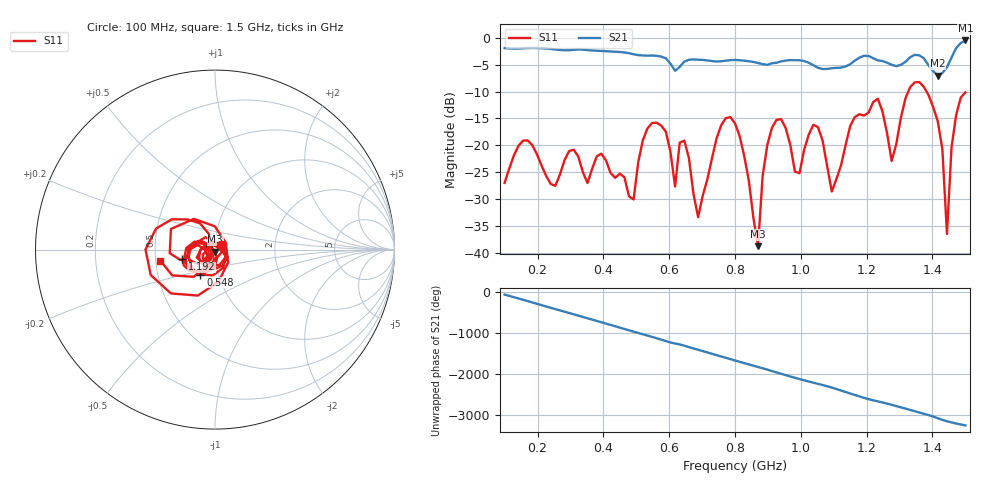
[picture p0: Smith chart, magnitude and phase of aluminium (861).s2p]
! NanoVNA-App
! Date: 2025-09-25 15:01:59
! Start: 100MHz Stop: 1,5GHz Points: 101
! S-Parameter data: F S11 S21 S12 S22
# Hz S RI R 50
!  Frequency  S11_Real  S11_Imag  S21_Real  S21_Imag  S12_Real  S12_Imag  S22_Real  S22_Imag
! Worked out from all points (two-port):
!   101 points, 100 MHz to 1.5 GHz, reference 50 ohm
!   highest |S21| = -0.51 dB at 1.5 GHz (marker M1); lowest = -7.0 dB at 1.416 GHz (marker M2)
!   |S21| within 3 dB of the highest: start of sweep to 576.1 MHz; 1.459 GHz to end of sweep (the widest 2 of 4)
!   lowest |S11| = -38.7 dB at 870 MHz (marker M3), VSWR 1.02, Z = 50.1 - j1.16 ohm
!   |S11| at or under -10 dB: start of sweep to 1.327 GHz; 1.382 GHz to end of sweep
!   S12 and S22 are empty: the file has one direction only
!   S11 on the Smith chart (normalised r, x): 100 MHz: 1.07, +0.06; 548 MHz: 0.82, -0.23; 1.192 GHz: 0.69, -0.08; 1.5 GHz: 0.53, -0.07
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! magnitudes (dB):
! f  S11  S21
! 100 MHz  -27.0  -1.9
! 156 MHz  -19.1  -2.0
! 338 MHz  -25.0  -2.2
! 492 MHz  -30.0  -3.1
! 548 MHz  -15.8  -3.3
! 576 MHz  -16.3  -3.5
! 618 MHz  -27.6  -6.1
! 646 MHz  -19.1  -4.4
! 688 MHz  -33.3  -4.1
! 800 MHz  -15.9  -4.1
! 870 MHz  -38.7  -4.7
! 912 MHz  -16.8  -4.7
! 996 MHz  -25.2  -4.2
! 1.038 GHz  -16.2  -5.1
! 1.094 GHz  -28.6  -5.7
! 1.192 GHz  -14.5  -3.3
! 1.276 GHz  -22.9  -5.0
! 1.346 GHz  -8.3  -3.2
! 1.416 GHz  -15.5  -7.0
! 1.444 GHz  -36.5  -5.5
! 1.458 GHz  -20.3  -3.7
! 1.5 GHz  -10.1  -0.5
